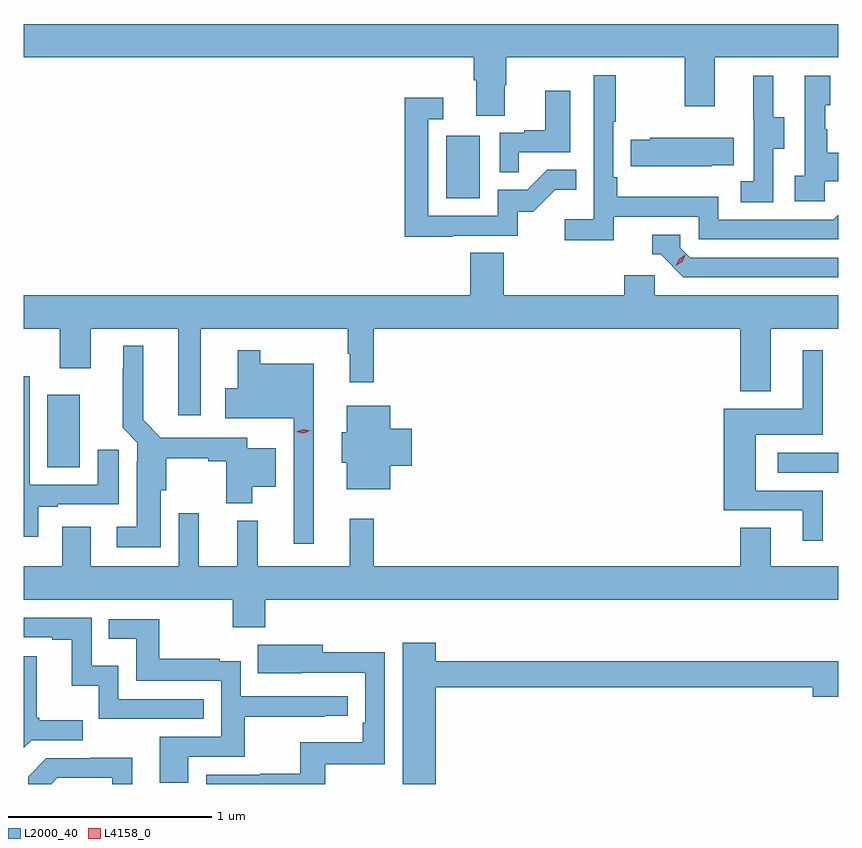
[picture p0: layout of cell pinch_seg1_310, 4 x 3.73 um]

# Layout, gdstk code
import gdstk
lib = gdstk.Library(unit=1e-6, precision=1e-09)
def R(c, l, rs):  # rectangles x0, y0, x1, y1
    for r in rs: c.add(gdstk.rectangle(r[:2], r[2:], *l))
def P(c, l, *ps):  # polygons
    for p in ps: c.add(gdstk.Polygon(p, *l))
L2000_40 = (2000, 40)
L4158_0 = (4158, 0)

pinch_seg1_310 = lib.new_cell('pinch_seg1_310')
R(pinch_seg1_310, L2000_40, [(989.457,556.353,989.755,556.449), (985.871,556.378,986.029,556.735), (987.83,557.7,987.994,558.007)])
P(pinch_seg1_310, L2000_40, [(988.117,558.255),(988.125,558.255),(988.125,558.392),(989.002,558.392),(989.002,558.153),(989.149,558.153),(989.149,558.392),(989.755,558.392),(989.755,558.556),(985.755,558.556),(985.755,558.392),(987.965,558.392),(987.965,558.28),(987.977,558.28),(987.977,558.106),(988.117,558.106)],
  [(988.652,557.61),(989.07,557.61),(989.07,557.499),(989.755,557.499),(989.755,557.62),(989.73,557.595),(989.166,557.595),(989.166,557.707),(988.67,557.707),(988.67,557.803),(988.65,557.803),(988.65,558.076),(988.663,558.076),(988.663,558.304),(988.554,558.304),(988.554,557.596),(988.413,557.596),(988.413,557.494),(988.652,557.494)],
  [(989.688,557.783),(989.755,557.783),(989.755,557.923),(989.701,557.923),(989.701,558.038),(989.691,558.038),(989.691,558.156),(989.716,558.156),(989.716,558.301),(989.592,558.301),(989.592,557.81),(989.541,557.81),(989.541,557.685),(989.688,557.685)],
  [(989.436,557.944),(989.491,557.944),(989.491,558.099),(989.437,558.099),(989.437,558.301),(989.339,558.301),(989.339,558.087),(989.34,558.087),(989.34,557.783),(989.277,557.783),(989.277,557.68),(989.436,557.68)],
  [(988.187,557.925),(988.438,557.925),(988.438,558.229),(988.316,558.229),(988.316,558.034),(988.213,558.034),(988.213,558.021),(988.092,558.021),(988.092,557.827),(988.187,557.827)],
  [(987.863,557.517),(988.182,557.517),(988.182,557.634),(988.258,557.634),(988.365,557.741),(988.469,557.741),(988.469,557.84),(988.326,557.84),(988.228,557.742),(988.083,557.742),(988.083,557.613),(987.741,557.613),(987.741,558.087),(987.814,558.087),(987.814,558.193),(987.625,558.193),(987.625,557.512),(987.863,557.512)],
  [(989.135,557.861),(989.243,557.861),(989.243,557.998),(988.833,557.998),(988.833,557.988),(988.735,557.988),(988.735,557.858),(989.135,557.858)],
  [(989.755,557.409),(989.028,557.409),(988.98,557.457),(988.98,557.52),(988.841,557.52),(988.841,557.424),(988.884,557.424),(988.995,557.313),(989.755,557.313)],
  [(985.755,557.06),(985.931,557.06),(985.931,556.866),(986.083,556.866),(986.083,557.06),(986.513,557.06),(986.513,556.635),(986.623,556.635),(986.623,557.06),(987.345,557.06),(987.345,556.937),(987.356,556.937),(987.356,556.797),(987.473,556.797),(987.473,557.06),(989.273,557.06),(989.273,556.751),(989.425,556.751),(989.425,557.06),(989.755,557.06),(989.755,557.224),(988.854,557.224),(988.854,557.322),(988.703,557.322),(988.703,557.224),(988.112,557.224),(988.112,557.432),(987.947,557.432),(987.947,557.224),(985.755,557.224)],
  [(986.428,556.266),(986.454,556.266),(986.454,556.423),(986.66,556.423),(986.66,556.408),(986.749,556.408),(986.749,556.202),(986.878,556.202),(986.878,556.283),(986.992,556.283),(986.992,556.471),(986.853,556.471),(986.853,556.524),(986.428,556.524),(986.341,556.612),(986.341,556.975),(986.243,556.975),(986.243,556.865),(986.24,556.865),(986.24,556.573),(986.313,556.5),(986.313,556.406),(986.309,556.406),(986.309,556.087),(986.211,556.087),(986.211,555.986),(986.428,555.986)],
  [(987.178,556.888),(986.917,556.888),(986.917,556.954),(986.807,556.954),(986.807,556.767),(986.744,556.767),(986.744,556.619),(987.081,556.619),(987.081,556.002),(987.178,556.002)],
  [(989.68,556.263),(989.35,556.263),(989.35,556.538),(989.68,556.538),(989.68,556.954),(989.582,556.954),(989.582,556.666),(989.192,556.666),(989.192,556.167),(989.582,556.167),(989.582,556.017),(989.68,556.017)],
  [(985.825,556.185),(985.921,556.185),(985.921,556.197),(986.221,556.197),(986.221,556.465),(986.117,556.465),(986.117,556.293),(985.783,556.293),(985.783,556.825),(985.755,556.825),(985.755,556.038),(985.825,556.038)],
  [(987.556,556.385),(987.661,556.385),(987.661,556.568),(987.556,556.568),(987.556,556.681),(987.341,556.681),(987.341,556.551),(987.317,556.551),(987.317,556.401),(987.341,556.401),(987.341,556.271),(987.556,556.271)],
  [(986.942,555.728),(989.755,555.728),(989.755,555.892),(989.425,555.892),(989.425,556.082),(989.273,556.082),(989.273,555.892),(987.473,555.892),(987.473,556.126),(987.356,556.126),(987.356,555.892),(986.903,555.892),(986.903,556.117),(986.804,556.117),(986.804,555.892),(986.615,555.892),(986.615,556.153),(986.517,556.153),(986.517,555.892),(986.083,555.892),(986.083,556.087),(985.943,556.087),(985.943,555.892),(985.755,555.892),(985.755,555.728),(986.782,555.728),(986.782,555.593),(986.942,555.593)],
  [(986.639,555.24),(986.22,555.24),(986.22,555.403),(986.088,555.403),(986.088,555.639),(985.755,555.639),(985.755,555.543),(985.895,555.543),(985.895,555.531),(985.991,555.531),(985.991,555.305),(986.124,555.305),(986.124,555.144),(986.639,555.144)],
  [(986.563,554.958),(986.84,554.958),(986.84,555.154),(987.233,555.154),(987.233,555.159),(987.346,555.159),(987.346,555.255),(986.82,555.255),(986.82,555.427),(986.717,555.427),(986.717,555.439),(986.419,555.439),(986.419,555.633),(986.173,555.633),(986.173,555.536),(986.308,555.536),(986.308,555.33),(986.724,555.33),(986.724,555.054),(986.423,555.054),(986.423,554.83),(986.563,554.83)],
  [(987.778,555.298),(989.63,555.298),(989.63,555.251),(989.755,555.251),(989.755,555.427),(987.778,555.427),(987.778,555.517),(987.617,555.517),(987.617,554.823),(987.778,554.823)],
  [(987.235,554.919),(987.528,554.919),(987.528,555.47),(987.223,555.47),(987.223,555.508),(986.905,555.508),(986.905,555.368),(987.119,555.368),(987.119,555.369),(987.432,555.369),(987.432,555.124),(987.419,555.124),(987.419,555.028),(987.114,555.028),(987.114,554.873),(986.917,554.873),(986.917,554.868),(986.652,554.868),(986.652,554.823),(987.235,554.823)],
  [(985.794,555.039),(986.044,555.039),(986.044,555.136),(985.831,555.136),(985.831,555.148),(985.819,555.148),(985.819,555.451),(985.755,555.451),(985.755,555)],
  [(985.92,554.853),(986.19,554.853),(986.19,554.823),(986.287,554.823),(986.287,554.951),(986.082,554.951),(986.082,554.949),(985.866,554.949),(985.776,554.859),(985.776,554.823),(985.89,554.823)])
P(pinch_seg1_310, L4158_0, [(987.128,556.545),(987.092,556.553),(987.092,556.553),(987.092,556.554),(987.127,556.565),(987.162,556.557),(987.162,556.557),(987.162,556.557)],
  [(988.958,557.369),(988.958,557.369),(988.974,557.402),(989.005,557.423),(989.005,557.423),(989.005,557.422),(988.989,557.389),(988.958,557.369)])

lib.write_gds('pinch_seg1_310.gds')
